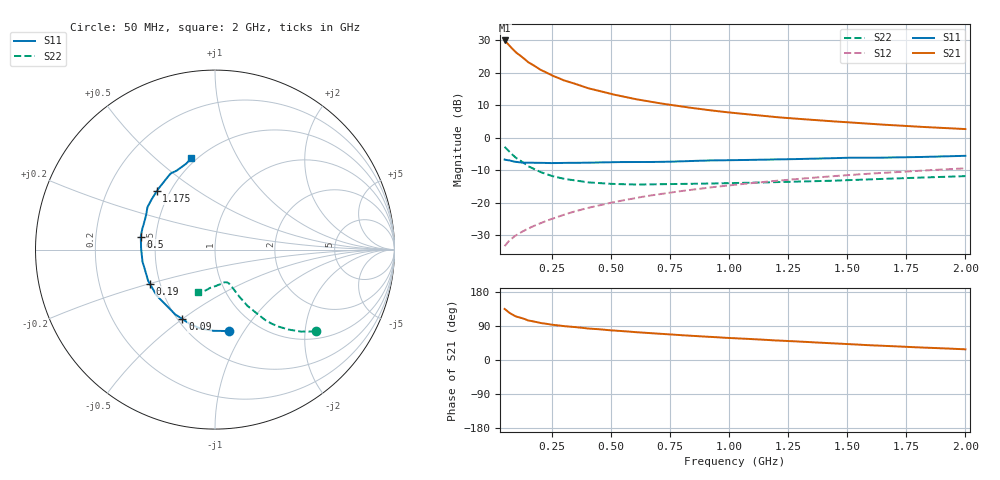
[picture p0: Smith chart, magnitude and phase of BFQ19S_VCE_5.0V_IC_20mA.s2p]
! Infineon Technologies  Discrete & RF Semiconductors
! BFQ19S
! VCE =  5.0 V,  IC =  20 mA
! Common Emitter S-Parameters:  Jan 2016
# GHz  S  MA  R  50
!  f  S11  S21  S12  S22
! GHz  MAG  ANG  MAG  ANG  MAG  ANG  MAG  ANG
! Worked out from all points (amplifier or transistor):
!   391 points, 50 MHz to 2 GHz, reference 50 ohm
!   highest |S21| = 29.9 dB at 50 MHz (marker M1)
!   |S21| within 3 dB of that: start of sweep to 89.08 MHz
!   unconditionally stable (mu >= 1): 390.5 MHz to 1.472 GHz
!   at 375 MHz: K = 0.99, MSG = 19.1 dB, |S12| = -22.2 dB
!   at 1.025 GHz: K = 1.04, MAG = 9.9 dB, |S12| = -14.5 dB
!   at 2 GHz: K = 0.96, MSG = 6.0 dB, |S12| = -9.4 dB
!   S11 on the Smith chart (normalised r, x): 50 MHz: 0.74, -0.86; 90 MHz: 0.53, -0.50; 190 MHz: 0.44, -0.20; 500 MHz: 0.41, +0.07; 1.175 GHz: 0.42, +0.35; 2 GHz: 0.47, +0.66
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0.05  0.46 -80.5  31.38 134.8  0.0213 64.1  0.7226 -39.1
0.06  0.4526 -91.2  28.67 129.4  0.0236 62.2  0.6623 -43.6
0.07  0.4468 -100.8  26.18 124.7  0.0261 60.8  0.608 -47.2
0.08  0.4373 -108.6  23.98 120.7  0.028 59.7  0.5607 -50.2
0.09  0.4275 -115.2  22.04 117.4  0.0299 59.4  0.519 -52.6
0.1  0.4237 -121.5  20.3 114.4  0.0316 59.4  0.4826 -54.5
0.15  0.4138 -141.8  14.5 104.3  0.0398 60.9  0.3622 -60.0
0.19  0.41 -152.3  11.84 99.4  0.0462 62.6  0.3096 -62.0
0.2  0.4112 -154.9  11.2 97.8  0.0478 63.0  0.2965 -62.6
0.25  0.4053 -163.6  9.078 93.1  0.0561 64.7  0.2568 -64.2
0.3  0.4097 -170.4  7.646 89.4  0.0647 65.7  0.2328 -65.2
0.375  0.41 -178.4  6.256 85.2  0.0778 66.7  0.212 -66.8
0.4  0.4118 179.0  5.803 83.3  0.0822 67.0  0.2051 -67.4
0.5  0.4204 170.1  4.697 78.3  0.0995 67.0  0.1942 -69.8
0.6  0.4214 163.8  3.941 73.7  0.1169 66.6  0.1895 -72.8
0.7  0.4226 158.4  3.41 69.5  0.134 66.1  0.1907 -76.0
0.82  0.4338 151.5  2.939 64.7  0.1541 65.0  0.194 -80.0
1.03  0.451 141.3  2.381 57.2  0.1889 62.3  0.2003 -86.4
1.175  0.4598 134.9  2.11 52.5  0.2123 60.5  0.2051 -90.8
1.35  0.4733 127.1  1.88 46.9  0.2405 58.1  0.2121 -95.6
1.675  0.4932 113.4  1.567 36.9  0.2902 53.1  0.2331 -103.0
2  0.5249 104.5  1.355 28.2  0.3369 48.5  0.2555 -111.4
